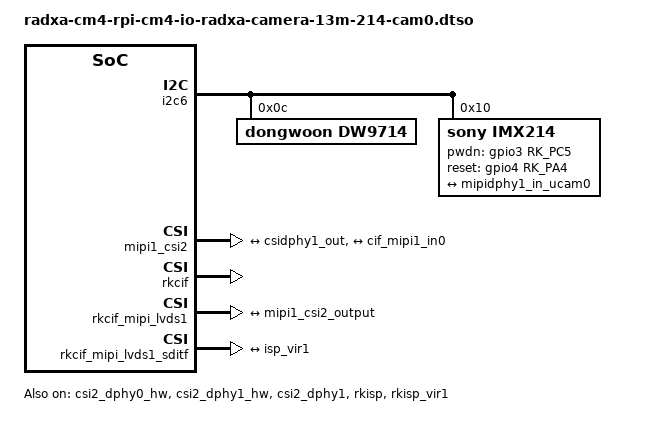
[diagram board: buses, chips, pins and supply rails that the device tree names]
/dts-v1/;
/plugin/;

#include <dt-bindings/clock/rockchip,rk3576-cru.h>
#include <dt-bindings/power/rockchip,rk3576-power.h>
#include <dt-bindings/gpio/gpio.h>
#include <dt-bindings/pinctrl/rockchip.h>

/ {
	metadata {
		title = "Enable Radxa Camera 13M 214 on CAM0";
		compatible = "radxa,cm4-rpi-cm4-io";
		category = "camera";
		exclusive = "GPIO3_C5", "GPIO4_A4", "csi2_dphy1", "i2c6";
		description = "Enable Radxa Camera 13M 214 on CAM0.";
	};
};

&i2c6 {
	status = "okay";
	pinctrl-names = "default";
	pinctrl-0 = <&i2c6m3_xfer>;
	#address-cells = <1>;
	#size-cells = <0>;

	dw9714: dw9714@c {
		compatible = "dongwoon,dw9714";
		status = "okay";
		reg = <0x0c>;
		rockchip,vcm-start-current = <10>;
		rockchip,vcm-rated-current = <85>;
		rockchip,vcm-step-mode = <3>;
		rockchip,camera-module-index = <0>;
		rockchip,camera-module-facing = "back";
	};

	imx214: imx214@10 {
		status = "okay";
		compatible = "sony,imx214";
		reg = <0x10>;
		clocks = <&cru CLK_MIPI_CAMERAOUT_M2>;
		clock-names = "xvclk";
		pinctrl-names = "default";
		pinctrl-0 = <&cam_clk2m0_clk2>;
		power-domains = <&power RK3576_PD_VI>;
		pwdn-gpios = <&gpio3 RK_PC5 GPIO_ACTIVE_HIGH>;
		reset-gpios = <&gpio4 RK_PA4 GPIO_ACTIVE_HIGH>;
		rockchip,camera-module-index = <0>;
		rockchip,camera-module-facing = "back";
		rockchip,camera-module-name = "RADXA-CAMERA-13M";
		rockchip,camera-module-lens-name = "DEFAULT";
		lens-focus = <&dw9714>;
		port {
			imx214_out0: endpoint {
				remote-endpoint = <&mipidphy1_in_ucam0>;
				data-lanes = <1 2>;
			};
		};
	};
};

&csi2_dphy0_hw {
	status = "okay";
};

&csi2_dphy1_hw {
	status = "okay";
};

&csi2_dphy1 {
	status = "okay";

	ports {
		#address-cells = <1>;
		#size-cells = <0>;

		port@0 {
			reg = <0>;
			#address-cells = <1>;
			#size-cells = <0>;

			mipidphy1_in_ucam0: endpoint@1 {
				reg = <1>;
				remote-endpoint = <&imx214_out0>;
				data-lanes = <1 2>;
			};
		};

		port@1 {
			reg = <1>;
			#address-cells = <1>;
			#size-cells = <0>;

			csidphy1_out: endpoint@0 {
				reg = <0>;
				remote-endpoint = <&mipi1_csi2_input>;
			};
		};
	};
};

&mipi1_csi2 {
	status = "okay";

	ports {
		#address-cells = <1>;
		#size-cells = <0>;

		port@0 {
			reg = <0>;
			#address-cells = <1>;
			#size-cells = <0>;

			mipi1_csi2_input: endpoint@1 {
				reg = <1>;
				remote-endpoint = <&csidphy1_out>;
			};
		};

		port@1 {
			reg = <1>;
			#address-cells = <1>;
			#size-cells = <0>;

			mipi1_csi2_output: endpoint@0 {
				reg = <0>;
				remote-endpoint = <&cif_mipi1_in0>;
			};
		};
	};
};

&rkcif {
	status = "okay";
};

&rkcif_mmu {
	status = "okay";
};

&rkcif_mipi_lvds1 {
	status = "okay";

	port {
		cif_mipi1_in0: endpoint {
			remote-endpoint = <&mipi1_csi2_output>;
		};
	};
};

&rkcif_mipi_lvds1_sditf {
	status = "okay";

	port {
		mipi_lvds1_sditf: endpoint {
			remote-endpoint = <&isp_vir1>;
		};
	};
};

&rkisp {
	status = "okay";
};

&rkisp_mmu {
	status = "okay";
};

&rkisp_vir1 {
	status = "okay";

	port {
		#address-cells = <1>;
		#size-cells = <0>;

		isp_vir1: endpoint@0 {
			reg = <0>;
			remote-endpoint = <&mipi_lvds1_sditf>;
		};
	};
};
